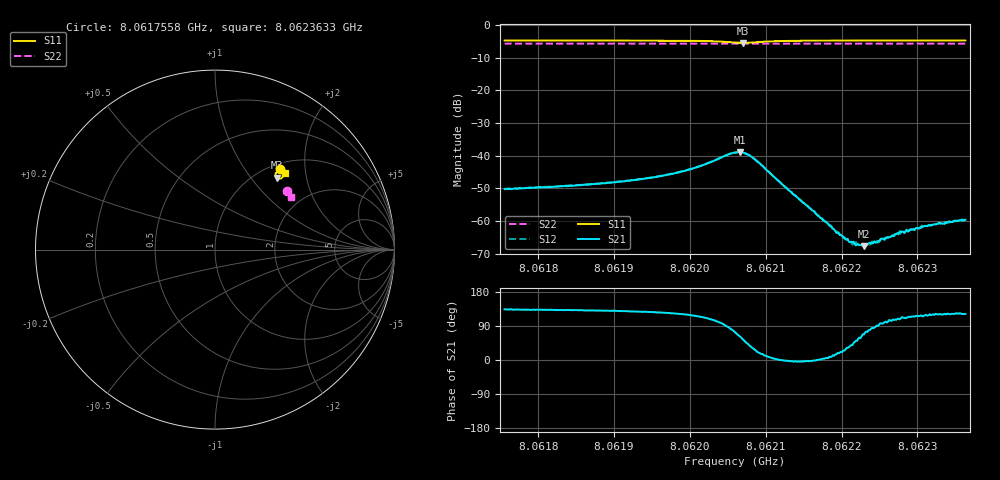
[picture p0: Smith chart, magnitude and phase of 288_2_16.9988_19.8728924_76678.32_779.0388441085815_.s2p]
#  HZ  S  RI  R  50.00
! Rohde & Schwarz Vector Network Analyzer
! Rohde-Schwarz,ZNB20-2Port,1311601062101988,3.16
! Created: UTC 3/20/2024, 11:04:59 PM
! freq[Hz]  re:S11  im:S11  re:S21  im:S21  re:S12  im:S12  re:S22  im:S22
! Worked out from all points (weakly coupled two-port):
!   401 points, 8.0617558 GHz to 8.0623633 GHz, reference 50 ohm
!   highest |S21| = -38.87 dB at 8.0620656 GHz (marker M1); lowest = -67.7 dB at 8.0622296 GHz (marker M2)
!   lowest |S11| = -5.5 dB at 8.0620702 GHz (marker M3), VSWR 3.24, Z = 61.1 + j67.9 ohm
!   |S11| at or under -10 dB: nowhere
!   |S22| runs from -5.8 to -5.7 dB; largest |S21 - S12| = 0.00088
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8.06175582e9  0.3615 0.4483  -0.00212 0.00222  -0.00199 0.00237  0.4004 0.3255
8.06185757e9  0.3687 0.4421  -0.00235 0.00268  -0.00222 0.00284  0.4043 0.3202
8.06191224e9  0.3729 0.4376  -0.00253 0.00315  -0.00233 0.00331  0.4063 0.3174
8.06195931e9  0.377 0.4322  -0.00281 0.00392  -0.00256 0.0041  0.408 0.3149
8.06200335e9  0.3811 0.4231  -0.00294 0.00559  -0.0026 0.00582  0.4097 0.3123
8.06205954e9  0.3598 0.395  0.00321 0.0106  0.00385 0.0106  0.4101 0.3087
8.06206561e9  0.3509 0.3966  0.0052 0.0101  0.00589 0.0098  0.4101 0.3085
8.06207017e9  0.3447 0.4003  0.00657 0.00902  0.00711 0.00855  0.4101 0.3086
8.06207928e9  0.3377 0.4121  0.00796 0.00596  0.00834 0.00558  0.4101 0.3089
8.06208839e9  0.3382 0.424  0.00756 0.00307  0.00783 0.00281  0.4107 0.3089
8.06216128e9  0.3674 0.4385  0.00146 -6.25e-05  0.00147 -0.000145  0.4147 0.3056
8.06219166e9  0.3726 0.4366  0.000687 0.000176  0.0007 0.000115  0.4158 0.3041
8.06220836e9  0.3746 0.4354  0.000442 0.000277  0.000463 0.000264  0.4167 0.3033
8.06222051e9  0.3761 0.4348  0.000277 0.000336  0.000298 0.000339  0.4171 0.3025
8.06222962e9  0.3771 0.434  0.000159 0.000381  0.000166 0.000415  0.4173 0.302
8.06224936e9  0.379 0.4328  -2.38e-05 0.000495  1.6e-05 0.000474  0.418 0.301
8.06225695e9  0.3797 0.4323  -9.07e-05 0.00051  -6.87e-05 0.000551  0.4184 0.3006
8.06226303e9  0.3801 0.4319  -0.000152 0.000544  -9.22e-05 0.000542  0.4186 0.3002
8.0622767e9  0.3814 0.4311  -0.000207 0.000662  -0.00018 0.000605  0.4192 0.2996
8.06228884e9  0.3825 0.4304  -0.00029 0.00064  -0.000265 0.000702  0.4195 0.299
8.06230859e9  0.3839 0.4292  -0.000373 0.000741  -0.000374 0.000732  0.4203 0.298
8.06236325e9  0.3878 0.4262  -0.000549 0.000891  -0.000544 0.00088  0.4221 0.2949
